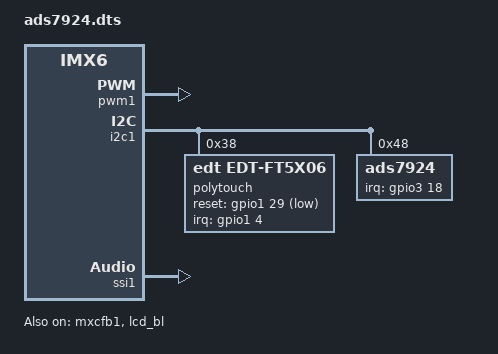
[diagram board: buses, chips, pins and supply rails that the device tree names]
/*
 * Copyright 2016 MSC technologies GmbH
 *
 * The code contained herein is licensed under the GNU General Public
 * License. You may obtain a copy of the GNU General Public License
 * Version 2 or later at the following locations:
 *
 * http://www.opensource.org/licenses/gpl-license.html
 * http://www.gnu.org/copyleft/gpl.html
 */
/*!
 * @brief Device-tree with integrating of the section for ADS7924
 * @see ads7924_dev_tree_names.h
 */
/dts-v1/;

#include <ads7924_dev_tree_names.h>
#include "msc-nR-imx6-143-014.dtsi"

/ {
#if 0
    sound {
		status = "okay";
		compatible = "fsl,imx-audio-ssm2518";
		model = "imx-ssm2518";
		pinctrl-names = "default";
		pinctrl-0 = <&pinctrl_codec>;
		ssi-controller = <&ssi1>;
		audio-codec = <&ssm2518>;
		mux-int-port = <1>;
		mux-ext-port = <3>;
		audio-routing =
		/*	<sink>,			<source>*/
			"Speaker",	"OUTL",
			"Speaker",	"OUTR";
	};
#endif
};

&mxcfb1 {
	compatible = "fsl,mxc_sdc_fb";
	disp_dev = "lcd";
	interface_pix_fmt = "RGB24";
	mode_str ="EMERGING-WVGA";
	default_bpp = <32>;
	int_clk = <0>;
	late_init = <0>;
	status = "okay";
};

&lcd_panel {
	status = "okay";
};

&pwm1 {
	status = "okay";
};

&lcd_bl {
	status = "okay";
	pwms = <&pwm1 0 1000000>; /*1kHz*/
	default-brightness-level = <3>;
};

&i2c1 {
	status = "okay";

	polytouch: edt-ft5x06@38 {
		compatible = "edt,edt-ft5x06"; /* i2c_device_id */
		reg = <0x38>;
		pinctrl-names = "default";
		pinctrl-0 = <&pinctrl_edt_ft5x06>;
		interrupt-parent = <&gpio1>;
		interrupts = <4 2>;
		reset-gpios = <&gpio1 29 GPIO_ACTIVE_LOW>;
		touchscreen-size-x = <1792>;
		touchscreen-size-y = <1024>;
		touchscreen-fuzz-x = <3>;
		touchscreen-fuzz-y = <3>;
		status = "okay";
	};
#if 0
	ssm2518: ssm2518@34 {
		compatible = "adi,ssm2518";
		reg = <0x34>; /*ADDR pin low*/
		clocks = <&clks IMX6QDL_CLK_CKO>;
		status = "okay";
	};
#endif
};

&ssi1 {
	status = "okay";
};

&iomuxc {
	touch {
		pinctrl_edt_ft5x06: edt-ft5x06grp {
			fsl,pins = <
				MX6QDL_PAD_GPIO_4__GPIO1_IO04		0x1b0b1 /*irq*/
				MX6QDL_PAD_ENET_TXD1__GPIO1_IO29	0x1b0b1 /*rst*/
			>;
		};
	};
#if 0
	codec {
		pinctrl_codec: codecgrp {
			fsl,pins = <
				MX6QDL_PAD_CSI0_MCLK__CCM_CLKO1		0x130b0
			>;
		};
	};
#endif
};

&i2c1 {
   #address-cells = <0x1>;
   #size-cells = <0x0>;

   status = "okay";

   ads7924: ads7924@48 {

      compatible = ADS7924_DT_COMPATIBLE;
      reg = <0x48>;
     // alarm_input_gpio = <&gpio3 18 GPIO_ACTIVE_LOW>;
      interrupt-parent = <&gpio3>;
      interrupts = <18 IRQ_TYPE_EDGE_FALLING>;
      ADS7924_CHANNEL( 0 );
      ADS7924_CHANNEL( 1 );
      status = "okay";
   };
};
